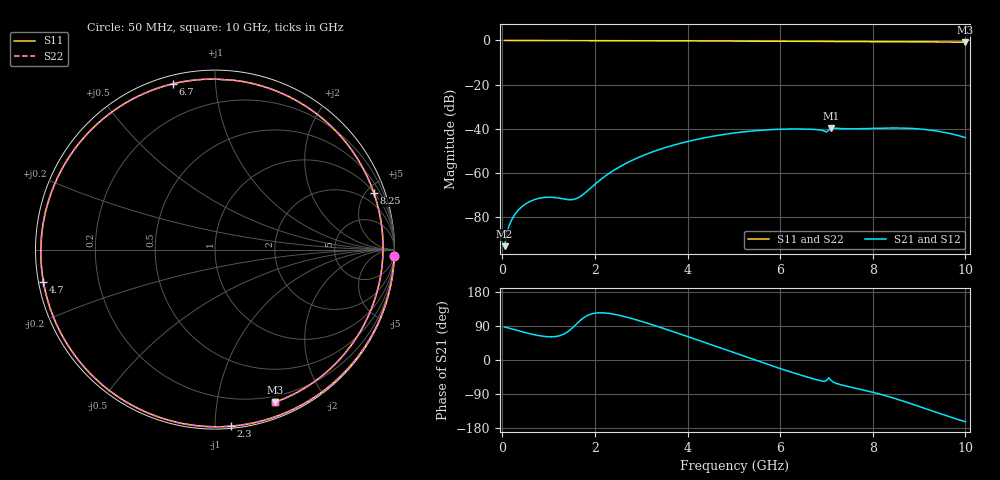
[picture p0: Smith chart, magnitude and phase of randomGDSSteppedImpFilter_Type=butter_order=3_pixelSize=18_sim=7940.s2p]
! freq	dB(S11)	phase(S11)	dB(S12)	phase(S12)
!  dB(S21)	phase(S21)	dB(S22)	phase(S22)
!S-par simulation data
#  GHz  S  DB  R 50
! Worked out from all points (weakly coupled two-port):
!   200 points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, 50 MHz to 10 GHz, reference 50 ohm
!   highest |S21| = -39.52 dB at 7.1 GHz (marker M1); lowest = -93.0 dB at 50 MHz (marker M2)
!   lowest |S11| = -0.8 dB at 10 GHz (marker M3), VSWR 22.20, Z = 7.05 - j72.8 ohm
!   |S11| at or under -10 dB: nowhere
!   |S22| runs from -0.8 to 0.0 dB; largest |S21 - S12| = 0
!   S11 on the Smith chart (normalised r, x): 50 MHz: 1, -59; 2.3 GHz: 0.01, -1.10; 4.7 GHz: 0.01, -0.09; 6.7 GHz: 0.04, +0.78; 8.25 GHz: 1.04, +5.62; 10 GHz: 0.14, -1.46
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0.05  -0.00 -1.9  -92.97 86.8  -92.97 86.8  -0.00 -1.9
0.2  -0.01 -7.6  -81.14 82.3  -81.14 82.3  -0.01 -7.6
0.45  -0.02 -17.1  -74.67 73.9  -74.67 73.9  -0.02 -17.1
0.75  -0.03 -28.4  -71.57 65.2  -71.57 65.2  -0.03 -28.4
1.5  -0.07 -56.1  -71.95 83.1  -71.95 83.1  -0.07 -56.1
1.75  -0.08 -65.2  -69.54 110.9  -69.54 110.9  -0.08 -65.2
2.3  -0.11 -84.8  -60.18 123.1  -60.18 123.1  -0.11 -84.8
2.85  -0.13 -104.0  -53.71 107.6  -53.71 107.6  -0.13 -104.0
3.4  -0.16 -123.1  -49.23 86.6  -49.23 86.6  -0.16 -123.1
4.1  -0.20 -147.6  -45.19 57.8  -45.19 57.8  -0.20 -147.6
4.7  -0.24 -169.4  -42.76 32.3  -42.76 32.3  -0.24 -169.4
5.05  -0.27 177.3  -41.71 17.3  -41.71 17.3  -0.27 177.3
5.85  -0.34 144.4  -40.26 -16.4  -40.26 -16.4  -0.34 144.4
6.7  -0.42 104.3  -40.17 -49.0  -40.17 -49.0  -0.42 104.3
7  -0.45 88.8  -41.41 -54.1  -41.41 -54.1  -0.45 88.8
7.1  -0.45 83.6  -39.52 -53.9  -39.52 -53.9  -0.45 83.6
7.65  -0.49 53.3  -39.92 -75.0  -39.92 -75.0  -0.49 53.3
8.25  -0.54 19.5  -39.63 -93.3  -39.63 -93.3  -0.54 19.5
8.35  -0.55 14.0  -39.59 -96.8  -39.59 -96.8  -0.55 13.9
9.05  -0.62 -23.6  -40.08 -124.7  -40.08 -124.7  -0.62 -23.6
9.55  -0.70 -48.2  -41.57 -145.5  -41.57 -145.5  -0.70 -48.2
10  -0.78 -68.6  -43.91 -163.0  -43.91 -163.0  -0.78 -68.7
